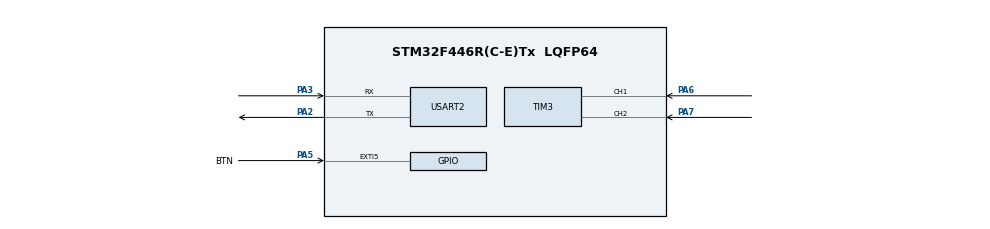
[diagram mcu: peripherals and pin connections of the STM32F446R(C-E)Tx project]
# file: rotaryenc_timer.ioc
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Mcu.Family=STM32F4
Mcu.Name=STM32F446R(C-E)Tx
Mcu.Package=LQFP64
NVIC.EXTI9_5_IRQn=true\:0\:0\:false\:false\:true\:true\:true\:true
NVIC.PriorityGroup=NVIC_PRIORITYGROUP_4
NVIC.TIM3_IRQn=true\:0\:0\:false\:false\:true\:true\:true\:true
PA13.Mode=Serial_Wire
PA13.Signal=SYS_JTMS-SWDIO
PA14.Mode=Serial_Wire
PA14.Signal=SYS_JTCK-SWCLK
PA2.Mode=Asynchronous
PA2.Signal=USART2_TX
PA3.Mode=Asynchronous
PA3.Signal=USART2_RX
PA5.GPIO_Label=BTN
PA5.GPIO_ModeDefaultEXTI=GPIO_MODE_IT_FALLING
PA5.Signal=GPXTI5
PA6.Signal=S_TIM3_CH1
PA7.Signal=S_TIM3_CH2
ProjectManager.HeapSize=0x200
ProjectManager.StackSize=0x400
ProjectManager.TargetToolchain=STM32CubeIDE
RCC.CortexFreq_Value=16000000
RCC.USBFreq_Value=96000000
RCC.VCOOutputFreq_Value=192000000
SH.S_TIM3_CH1.0=TIM3_CH1,Encoder_Interface
SH.S_TIM3_CH2.0=TIM3_CH2,Encoder_Interface
TIM3.IC1Filter=4
TIM3.IC2Filter=4
USART2.VirtualMode=VM_ASYNC
board=custom

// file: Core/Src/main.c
/* USER CODE BEGIN Header */
/**
  ******************************************************************************
  * @file           : main.c
  * @brief          : Main program body
  ******************************************************************************
  * @attention
  *
  * Copyright (c) 2026 STMicroelectronics.
  * All rights reserved.
  *
  * This software is licensed under terms that can be found in the LICENSE file
  * in the root directory of this software component.
  * If no LICENSE file comes with this software, it is provided AS-IS.
  *
  ******************************************************************************
  */
/* USER CODE END Header */
#include "main.h"

/* USER CODE BEGIN Includes */
#include <stdio.h>
/* USER CODE END Includes */

/* USER CODE BEGIN PD */
#define PULSES_PER_REVOLUTION 40
/* USER CODE END PD */

TIM_HandleTypeDef htim3;

UART_HandleTypeDef huart2;

/* USER CODE BEGIN PV */
volatile int16_t r = 0;
volatile uint8_t r_change = 0;
uint16_t cnt1 = 0, cnt2 = 0;

/* USER CODE END PV */

void SystemClock_Config(void);
static void MX_GPIO_Init(void);
static void MX_USART2_UART_Init(void);
static void MX_TIM3_Init(void);

/* USER CODE BEGIN 0 */

// Send printf to uart2
int _write(int fd, char* ptr, int len) {
  HAL_StatusTypeDef hstatus;

  if (fd == 1 || fd == 2) {
    hstatus = HAL_UART_Transmit(&huart2, (uint8_t *) ptr, len, HAL_MAX_DELAY);
    if (hstatus == HAL_OK)
      return len;
    else
      return -1;
  }
  return -1;
}

void HAL_TIM_IC_CaptureCallback(TIM_HandleTypeDef *htim) {
	if (htim->Instance == TIM3){
		r = htim->Instance->CNT;
		r_change = 1;
	}
}

void HAL_GPIO_EXTI_Callback(uint16_t GPIO_Pin) {
	if (GPIO_Pin == BTN_Pin) {
		if (htim3.Instance->CNT != 0) {
			htim3.Instance->CNT = 0;
			r = 0;
			r_change = 1;
		}
	}
}
/* USER CODE END 0 */

int main(void)
{

  /* MCU Configuration--------------------------------------------------------*/

  /* Reset of all peripherals, Initializes the Flash interface and the Systick. */
  HAL_Init();

  /* Configure the system clock */
  SystemClock_Config();

  /* Initialize all configured peripherals */
  MX_GPIO_Init();
  MX_USART2_UART_Init();
  MX_TIM3_Init();
  /* USER CODE BEGIN 2 */

  printf("\n\n\n\n\r------------\n\rStarting\n\r");

  HAL_TIM_Encoder_Start_IT(&htim3, TIM_CHANNEL_ALL);

  /* USER CODE END 2 */

  /* Infinite loop */
  /* USER CODE BEGIN WHILE */

  cnt1 = __HAL_TIM_GET_COUNTER(&htim3);
  uint32_t next_tick = 1000, now = 0, loop_cnt = 0;
  uint16_t diff = 0, dir = 0;
  float speed = 0.0;
  char msg[60];

  while (1)
  {
	  now = HAL_GetTick();
	  if (now >= next_tick) {
		  cnt2 = __HAL_TIM_GET_COUNTER(&htim3);
		  if (__HAL_TIM_IS_TIM_COUNTING_DOWN(&htim3)) {
			  if (cnt2 <= cnt1)
				  diff = cnt1 - cnt2;
			  else
				  diff = (65535 - cnt1) + cnt2; //In case of counter underflow
		  } else {
			  if (cnt2 >= cnt1)
				  diff = cnt2 - cnt1;
			  else
				  diff = (65535 - cnt1) + cnt2; //In case of counter overflow
		  }

		  sprintf(msg, "Difference: %d  ", diff);
		  printf("%s", msg);

		  speed = diff / PULSES_PER_REVOLUTION; //Revolutions per second
		  sprintf(msg, "Speed: %f  ", speed);
		  printf("%s", msg);

		  dir = __HAL_TIM_IS_TIM_COUNTING_DOWN(&htim3);
		  sprintf(msg, "Direction: %d", dir);
		  printf("%s\n\r", msg);

		  cnt1 = __HAL_TIM_GET_COUNTER(&htim3);

		  printf("\n\rTick %lu (loop = %lu rot = %lu)\n\r", now/1000, loop_cnt, TIM3->CNT);
		  loop_cnt = 0;
		  next_tick = now + 1000;

	  }

	  if (r_change) {
		  printf("Rotation: %d\n\r", r);
		  r_change = 0;
	  }

	  ++loop_cnt;
    /* USER CODE END WHILE */

  }
}

void SystemClock_Config(void)
{
  RCC_OscInitTypeDef RCC_OscInitStruct = {0};
  RCC_ClkInitTypeDef RCC_ClkInitStruct = {0};

  /** Configure the main internal regulator output voltage
  */
  __HAL_RCC_PWR_CLK_ENABLE();
  __HAL_PWR_VOLTAGESCALING_CONFIG(PWR_REGULATOR_VOLTAGE_SCALE3);

  /** Initializes the RCC Oscillators according to the specified parameters
  * in the RCC_OscInitTypeDef structure.
  */
  RCC_OscInitStruct.OscillatorType = RCC_OSCILLATORTYPE_HSI;
  RCC_OscInitStruct.HSIState = RCC_HSI_ON;
  RCC_OscInitStruct.HSICalibrationValue = RCC_HSICALIBRATION_DEFAULT;
  RCC_OscInitStruct.PLL.PLLState = RCC_PLL_NONE;
  if (HAL_RCC_OscConfig(&RCC_OscInitStruct) != HAL_OK)
  {
    Error_Handler();
  }

  /** Initializes the CPU, AHB and APB buses clocks
  */
  RCC_ClkInitStruct.ClockType = RCC_CLOCKTYPE_HCLK|RCC_CLOCKTYPE_SYSCLK
                              |RCC_CLOCKTYPE_PCLK1|RCC_CLOCKTYPE_PCLK2;
  RCC_ClkInitStruct.SYSCLKSource = RCC_SYSCLKSOURCE_HSI;
  RCC_ClkInitStruct.AHBCLKDivider = RCC_SYSCLK_DIV1;
  RCC_ClkInitStruct.APB1CLKDivider = RCC_HCLK_DIV1;
  RCC_ClkInitStruct.APB2CLKDivider = RCC_HCLK_DIV1;

  if (HAL_RCC_ClockConfig(&RCC_ClkInitStruct, FLASH_LATENCY_0) != HAL_OK)
  {
    Error_Handler();
  }
}

static void MX_TIM3_Init(void)
{

  TIM_Encoder_InitTypeDef sConfig = {0};
  TIM_MasterConfigTypeDef sMasterConfig = {0};

  htim3.Instance = TIM3;
  htim3.Init.Prescaler = 0;
  htim3.Init.CounterMode = TIM_COUNTERMODE_UP;
  htim3.Init.Period = 65535;
  htim3.Init.ClockDivision = TIM_CLOCKDIVISION_DIV1;
  htim3.Init.AutoReloadPreload = TIM_AUTORELOAD_PRELOAD_DISABLE;
  sConfig.EncoderMode = TIM_ENCODERMODE_TI1;
  sConfig.IC1Polarity = TIM_ICPOLARITY_RISING;
  sConfig.IC1Selection = TIM_ICSELECTION_DIRECTTI;
  sConfig.IC1Prescaler = TIM_ICPSC_DIV1;
  sConfig.IC1Filter = 4;
  sConfig.IC2Polarity = TIM_ICPOLARITY_RISING;
  sConfig.IC2Selection = TIM_ICSELECTION_DIRECTTI;
  sConfig.IC2Prescaler = TIM_ICPSC_DIV1;
  sConfig.IC2Filter = 4;
  if (HAL_TIM_Encoder_Init(&htim3, &sConfig) != HAL_OK)
  {
    Error_Handler();
  }
  sMasterConfig.MasterOutputTrigger = TIM_TRGO_RESET;
  sMasterConfig.MasterSlaveMode = TIM_MASTERSLAVEMODE_DISABLE;
  if (HAL_TIMEx_MasterConfigSynchronization(&htim3, &sMasterConfig) != HAL_OK)
  {
    Error_Handler();
  }

}

static void MX_USART2_UART_Init(void)
{

  huart2.Instance = USART2;
  huart2.Init.BaudRate = 115200;
  huart2.Init.WordLength = UART_WORDLENGTH_8B;
  huart2.Init.StopBits = UART_STOPBITS_1;
  huart2.Init.Parity = UART_PARITY_NONE;
  huart2.Init.Mode = UART_MODE_TX_RX;
  huart2.Init.HwFlowCtl = UART_HWCONTROL_NONE;
  huart2.Init.OverSampling = UART_OVERSAMPLING_16;
  if (HAL_UART_Init(&huart2) != HAL_OK)
  {
    Error_Handler();
  }

}

static void MX_GPIO_Init(void)
{
  GPIO_InitTypeDef GPIO_InitStruct = {0};

  /* GPIO Ports Clock Enable */
  __HAL_RCC_GPIOA_CLK_ENABLE();

  /*Configure GPIO pin : BTN_Pin */
  GPIO_InitStruct.Pin = BTN_Pin;
  GPIO_InitStruct.Mode = GPIO_MODE_IT_FALLING;
  GPIO_InitStruct.Pull = GPIO_NOPULL;
  HAL_GPIO_Init(BTN_GPIO_Port, &GPIO_InitStruct);

  /* EXTI interrupt init*/
  HAL_NVIC_SetPriority(EXTI9_5_IRQn, 0, 0);
  HAL_NVIC_EnableIRQ(EXTI9_5_IRQn);

}

void Error_Handler(void)
{
  __disable_irq();
  while (1)
  {
  }
}
